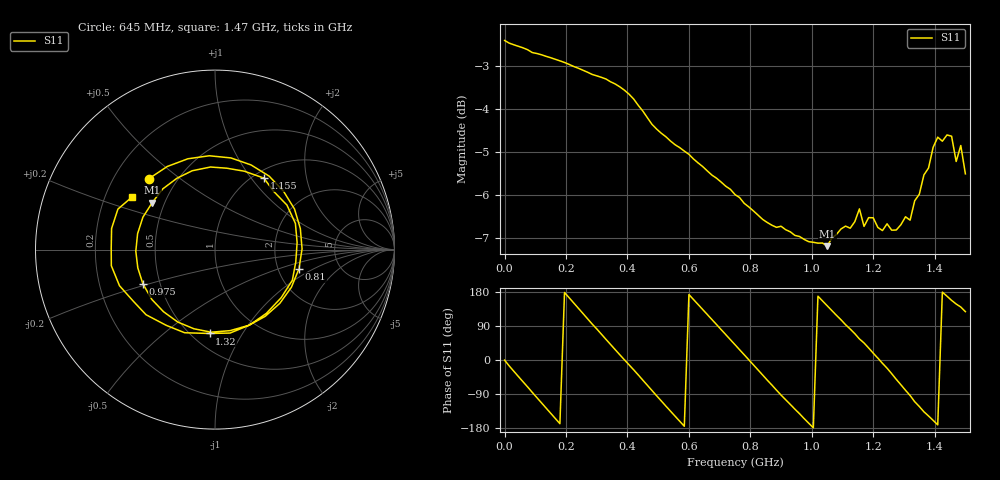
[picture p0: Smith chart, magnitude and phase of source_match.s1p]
! Created with skrf 1.8.0 (http://scikit-rf.org).
# Hz S RI R 50.0
!freq ReS11 ImS11
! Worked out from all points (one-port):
!   101 points, 50 kHz to 1.5 GHz, reference 50 ohm
!   lowest |S11| = -7.2 dB at 1.05 GHz (marker M1), VSWR 2.55, Z = 21.4 + j13.8 ohm
!   |S11| at or under -10 dB: nowhere
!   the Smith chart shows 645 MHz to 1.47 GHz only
!   S11 on the Smith chart (normalised r, x): 645 MHz: 0.35, +0.39; 810 MHz: 2.61, -0.73; 975 MHz: 0.40, -0.19; 1.155 GHz: 1.12, +1.16; 1.32 GHz: 0.61, -0.73; 1.47 GHz: 0.31, +0.26
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50000  0.7571 -0.00559
4.50485e7  0.5388 -0.515
9.0047e7  0.0589 -0.7306
1.50045e8  -0.5581 -0.4595
1.950435e8  -0.7134 0.0231
2.40042e8  -0.5115 0.4821
2.850405e8  -0.0594 0.6888
3.30039e8  0.3967 0.5559
3.750375e8  0.6495 0.1596
4.20036e8  0.583 -0.2815
4.80034e8  0.0978 -0.5969
5.250325e8  -0.3068 -0.4983
5.70031e8  -0.5394 -0.1793
6.450285e8  -0.3691 0.3946
6.90027e8  -0.0318 0.5228
7.50025e8  0.3818 0.325
8.10023e8  0.4679 -0.1068
8.850205e8  0.0839 -0.4516
9.450185e8  -0.287 -0.346
9.750175e8  -0.4015 -0.1915
1.050015e9  -0.3498 0.2616
1.125012e9  0.0655 0.4535
1.155012e9  0.2725 0.3982
1.245008e9  0.4311 -0.1707
1.320006e9  -0.0299 -0.4672
1.410003e9  -0.5776 -0.0899
1.470001e9  -0.4633 0.2922
1.5e9  -0.3235 0.4197
